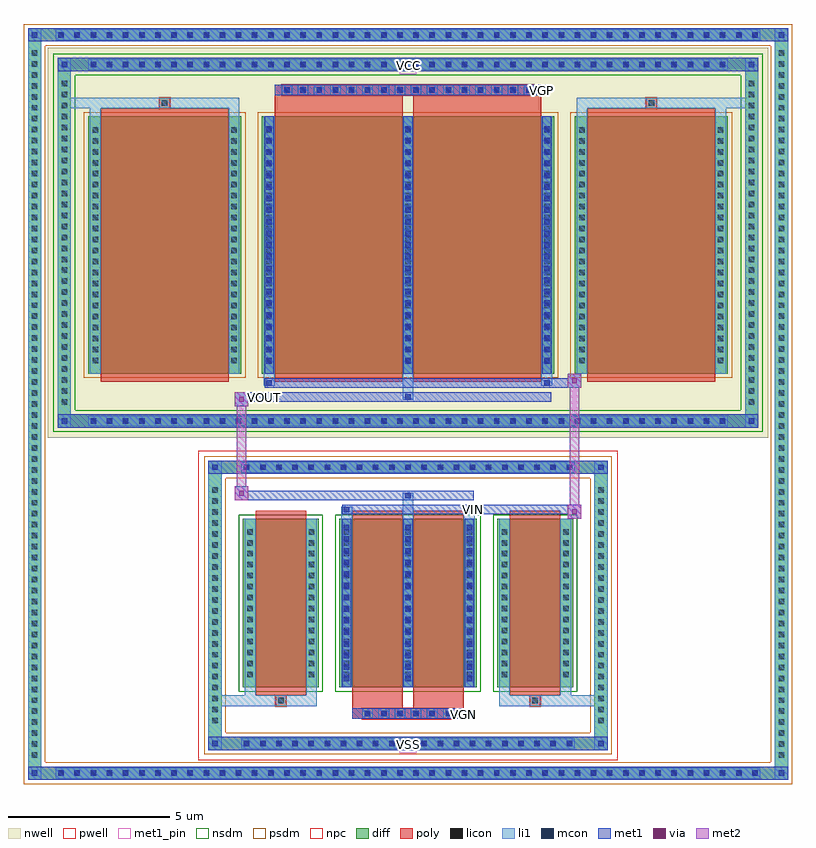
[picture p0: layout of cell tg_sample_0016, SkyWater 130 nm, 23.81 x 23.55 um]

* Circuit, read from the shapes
.subckt tg_sample_0016 VCC VGN VGP VIN VOUT VSS
XM1 VSS VSS VSS VSUBS sky130_fd_pr__nfet_01v8 w=5.22 l=1.57 m=2
XM2 VOUT VGN VIN VSUBS sky130_fd_pr__nfet_01v8 w=5.22 l=1.57 m=2
XM3 VCC VCC VCC n1 sky130_fd_pr__pfet_01v8 w=7.97 l=3.97 m=2
XM4 VOUT VGP VIN n1 sky130_fd_pr__pfet_01v8 w=7.97 l=3.97 m=2
.ends

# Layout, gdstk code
import gdstk
lib = gdstk.Library(unit=1e-6, precision=5e-09)
def R(c, l, rs):  # rectangles x0, y0, x1, y1
    for r in rs: c.add(gdstk.rectangle(r[:2], r[2:], *l))
def A(c, l, x, y, w, h, nx, ny, dx, dy):  # array of equal rectangles
    R(c, l, [(x+i*dx, y+j*dy, x+i*dx+w, y+j*dy+h) for i in range(nx) for j in range(ny)])
def P(c, l, *ps):  # polygons
    for p in ps: c.add(gdstk.Polygon(p, *l))
nwell = (64, 20)
pwell = (64, 44)
diff = (65, 20)
poly = (66, 20)
licon = (66, 44)
li1 = (67, 20)
mcon = (67, 44)
met1_pin = (68, 16)
met1 = (68, 20)
via = (68, 44)
met2 = (69, 20)
nsdm = (93, 44)
psdm = (94, 20)
npc = (95, 20)

tg_sample_0016 = lib.new_cell('tg_sample_0016')
R(tg_sample_0016, nwell, [(-11.165,5.195,11.165,17.275)])
R(tg_sample_0016, pwell, [(-6.495,-4.795,6.495,4.795)])
A(tg_sample_0016, diff, -10.955, -5.405, 0.41, 0.41, 44, 2, 0.5, 22.88)
A(tg_sample_0016, diff, -11.775, -4.845, 0.41, 0.41, 1, 65, 0, 0.34)
A(tg_sample_0016, diff, 11.365, -4.845, 0.41, 0.41, 1, 65, 0, 0.34)
A(tg_sample_0016, diff, -5.205, -4.485, 0.41, 0.41, 21, 2, 0.5, 8.56)
A(tg_sample_0016, diff, -6.185, -3.775, 0.41, 0.41, 1, 22, 0, 0.34)
A(tg_sample_0016, diff, 5.775, -3.775, 0.41, 0.41, 1, 22, 0, 0.34)
A(tg_sample_0016, diff, -9.955, 5.505, 0.41, 0.41, 40, 2, 0.5, 11.05)
A(tg_sample_0016, diff, -10.855, 6.1, 0.41, 0.41, 1, 30, 0, 0.34)
A(tg_sample_0016, diff, 10.445, 6.1, 0.41, 0.41, 1, 30, 0, 0.34)
R(tg_sample_0016, diff, [(-10.955,-5.405,10.955,-4.995), (-11.775,-4.845,-11.365,17.325), (11.365,-4.845,11.775,17.325), (-5.205,-4.485,5.205,-4.075), (-6.185,-3.775,-5.775,3.775), (5.775,-3.775,6.185,3.775), (-5.115,-2.54,-2.765,2.68), (-2.125,-2.54,2.125,2.68), (2.765,-2.54,5.115,2.68), (-5.205,4.075,5.205,4.485), (-9.955,5.505,9.955,5.915), (-10.855,6.1,-10.445,16.37), (10.445,6.1,10.855,16.37), (-9.915,7.18,-5.165,15.15), (-4.525,7.18,4.525,15.15), (5.165,7.18,9.915,15.15), (-9.955,16.555,9.955,16.965), (-10.955,17.475,10.955,17.885)])
P(tg_sample_0016, diff, [(6.185,4.485),(-6.185,4.485),(-6.185,-4.075),(-5.775,-4.075),(-5.775,4.075),(5.775,4.075),(5.775,-4.075),(-5.775,-4.075),(-6.185,-4.075),(-6.185,-4.485),(6.185,-4.485)],
  [(11.775,17.885),(-11.775,17.885),(-11.775,-4.995),(-11.365,-4.995),(-11.365,17.475),(11.365,17.475),(11.365,-4.995),(-11.365,-4.995),(-11.775,-4.995),(-11.775,-5.405),(11.775,-5.405)],
  [(10.855,5.505),(-10.855,5.505),(-10.855,16.555),(-10.445,16.555),(-10.445,5.915),(10.445,5.915),(10.445,16.555),(-10.445,16.555),(-10.855,16.555),(-10.855,16.965),(10.855,16.965)])
A(tg_sample_0016, poly, -1.415, -3.52, 0.33, 0.33, 6, 1, 0.5, 0)
A(tg_sample_0016, poly, -3.915, 15.805, 0.33, 0.33, 16, 1, 0.5, 0)
R(tg_sample_0016, poly, [(-1.735,-3.52,1.735,-3.19), (-1.735,-3.19,-0.165,-2.79), (0.165,-3.19,1.735,-2.79), (-4.105,-3.12,-3.775,-2.79), (-4.105,-3.12,-3.775,-2.79), (3.775,-3.12,4.105,-2.79), (3.775,-3.12,4.105,-2.79), (-4.725,-2.79,-3.155,2.93), (-1.735,-2.79,-0.165,2.93), (0.165,-2.79,1.735,2.93), (3.155,-2.79,4.725,2.93), (-9.525,6.93,-5.555,15.4), (-4.135,6.93,-0.165,15.4), (0.165,6.93,4.135,15.4), (5.555,6.93,9.525,15.4), (-7.705,15.4,-7.375,15.73), (-7.705,15.4,-7.375,15.73), (-4.135,15.4,-0.165,15.805), (0.165,15.4,4.135,15.805), (7.375,15.4,7.705,15.73), (7.375,15.4,7.705,15.73), (-4.135,15.805,4.135,16.135)])
A(tg_sample_0016, licon, -10.835, -5.285, 0.17, 0.17, 44, 2, 0.5, 22.88)
A(tg_sample_0016, licon, -11.655, -4.725, 0.17, 0.17, 1, 65, 0, 0.34)
A(tg_sample_0016, licon, 11.485, -4.725, 0.17, 0.17, 1, 65, 0, 0.34)
A(tg_sample_0016, licon, -5.085, -4.365, 0.17, 0.17, 21, 2, 0.5, 8.56)
A(tg_sample_0016, licon, -6.065, -3.655, 0.17, 0.17, 1, 22, 0, 0.34)
A(tg_sample_0016, licon, 5.895, -3.655, 0.17, 0.17, 1, 22, 0, 0.34)
A(tg_sample_0016, licon, -1.335, -3.44, 0.17, 0.17, 6, 1, 0.5, 0)
A(tg_sample_0016, licon, -4.975, -2.225, 0.17, 0.17, 1, 14, 0, 0.34)
A(tg_sample_0016, licon, -3.075, -2.225, 0.17, 0.17, 1, 14, 0, 0.34)
A(tg_sample_0016, licon, -1.985, -2.225, 0.17, 0.17, 3, 14, 1.9, 0.34)
A(tg_sample_0016, licon, 2.905, -2.225, 0.17, 0.17, 1, 14, 0, 0.34)
A(tg_sample_0016, licon, 4.805, -2.225, 0.17, 0.17, 1, 14, 0, 0.34)
A(tg_sample_0016, licon, -9.835, 5.625, 0.17, 0.17, 40, 2, 0.5, 11.05)
A(tg_sample_0016, licon, -10.735, 6.22, 0.17, 0.17, 1, 30, 0, 0.34)
A(tg_sample_0016, licon, 10.565, 6.22, 0.17, 0.17, 1, 30, 0, 0.34)
A(tg_sample_0016, licon, -9.775, 7.51, 0.17, 0.17, 1, 22, 0, 0.34)
A(tg_sample_0016, licon, -5.475, 7.51, 0.17, 0.17, 1, 22, 0, 0.34)
A(tg_sample_0016, licon, -4.385, 7.51, 0.17, 0.17, 3, 22, 4.3, 0.34)
A(tg_sample_0016, licon, 5.305, 7.51, 0.17, 0.17, 1, 22, 0, 0.34)
A(tg_sample_0016, licon, 9.605, 7.51, 0.17, 0.17, 1, 22, 0, 0.34)
A(tg_sample_0016, licon, -3.835, 15.885, 0.17, 0.17, 16, 1, 0.5, 0)
R(tg_sample_0016, licon, [(-4.025,-3.04,-3.855,-2.87), (3.855,-3.04,4.025,-2.87), (-7.625,15.48,-7.455,15.65), (7.455,15.48,7.625,15.65)])
A(tg_sample_0016, li1, -10.915, -5.365, 0.33, 0.33, 44, 2, 0.5, 22.88)
A(tg_sample_0016, li1, -11.735, -4.805, 0.33, 0.33, 1, 65, 0, 0.34)
A(tg_sample_0016, li1, 11.405, -4.805, 0.33, 0.33, 1, 65, 0, 0.34)
A(tg_sample_0016, li1, -5.165, -4.445, 0.33, 0.33, 21, 2, 0.5, 8.56)
A(tg_sample_0016, li1, -6.145, -3.735, 0.33, 0.33, 1, 22, 0, 0.34)
A(tg_sample_0016, li1, 5.815, -3.735, 0.33, 0.33, 1, 22, 0, 0.34)
A(tg_sample_0016, li1, -1.415, -3.52, 0.33, 0.33, 6, 1, 0.5, 0)
A(tg_sample_0016, li1, -2.065, -2.54, 0.33, 5.22, 3, 1, 1.9, 0)
A(tg_sample_0016, li1, -1.985, -2.355, 0.17, 0.17, 3, 14, 1.9, 0.36)
A(tg_sample_0016, li1, -1.985, -2.355, 0.17, 4.85, 3, 1, 1.9, 0)
A(tg_sample_0016, li1, -5.055, -2.305, 0.33, 0.33, 1, 14, 0, 0.34)
A(tg_sample_0016, li1, -3.155, -2.305, 0.33, 0.33, 1, 14, 0, 0.34)
A(tg_sample_0016, li1, -2.065, -2.305, 0.33, 0.33, 3, 14, 1.9, 0.34)
A(tg_sample_0016, li1, 2.825, -2.305, 0.33, 0.33, 1, 14, 0, 0.34)
A(tg_sample_0016, li1, 4.725, -2.305, 0.33, 0.33, 1, 14, 0, 0.34)
A(tg_sample_0016, li1, -9.915, 5.545, 0.33, 0.33, 40, 2, 0.5, 11.05)
A(tg_sample_0016, li1, -10.815, 6.14, 0.33, 0.33, 1, 30, 0, 0.34)
A(tg_sample_0016, li1, 10.485, 6.14, 0.33, 0.33, 1, 30, 0, 0.34)
A(tg_sample_0016, li1, -4.465, 7.18, 0.33, 7.97, 3, 1, 4.3, 0)
A(tg_sample_0016, li1, -9.855, 7.43, 0.33, 0.33, 1, 22, 0, 0.34)
A(tg_sample_0016, li1, -5.555, 7.43, 0.33, 0.33, 1, 22, 0, 0.34)
A(tg_sample_0016, li1, -4.465, 7.43, 0.33, 0.33, 3, 22, 4.3, 0.34)
A(tg_sample_0016, li1, 5.225, 7.43, 0.33, 0.33, 1, 22, 0, 0.34)
A(tg_sample_0016, li1, 9.525, 7.43, 0.33, 0.33, 1, 22, 0, 0.34)
A(tg_sample_0016, li1, -4.385, 7.48, 0.17, 0.17, 3, 21, 4.3, 0.36)
A(tg_sample_0016, li1, -4.385, 7.48, 0.17, 7.37, 3, 1, 4.3, 0)
A(tg_sample_0016, li1, -3.915, 15.805, 0.33, 0.33, 16, 1, 0.5, 0)
R(tg_sample_0016, li1, [(-11.775,-5.405,-11.365,-4.995), (11.365,-5.405,11.775,-4.995), (-10.915,-5.365,10.915,-5.035), (-11.655,-5.285,-11.485,-5.115), (-11.655,-5.285,-11.485,-5.115), (11.485,-5.285,11.655,-5.115), (11.485,-5.285,11.655,-5.115), (-11.775,-4.995,-11.365,17.475), (11.365,-4.995,11.775,17.475), (-6.185,-4.485,-5.775,-4.075), (5.775,-4.485,6.185,-4.075), (-5.165,-4.445,5.165,-4.115), (-6.065,-4.365,-5.895,-4.195), (-6.065,-4.365,-5.895,-4.195), (5.895,-4.365,6.065,-4.195), (5.895,-4.365,6.065,-4.195), (-6.185,-4.075,-5.775,4.075), (5.775,-4.075,6.185,4.075), (-6.185,-3.12,-4.105,-2.79), (-5.055,-3.12,-4.105,-2.79), (-5.055,-3.12,-4.725,-2.54), (-4.105,-3.12,-3.775,-2.79), (-3.775,-3.12,-2.825,-2.79), (-3.155,-3.12,-2.825,-2.54), (2.825,-3.12,3.775,-2.79), (2.825,-3.12,3.155,-2.54), (3.775,-3.12,4.105,-2.79), (3.775,-3.12,6.185,-2.79), (4.105,-3.12,5.055,-2.79), (4.725,-3.12,5.055,-2.54), (-5.055,-2.54,-4.725,2.68), (-3.155,-2.54,-2.825,2.68), (2.825,-2.54,3.155,2.68), (4.725,-2.54,5.055,2.68), (-2.065,2.68,-1.735,3.055), (-0.165,2.68,0.165,3.485), (1.735,2.68,2.065,3.055), (-1.985,2.885,-1.815,3.055), (1.815,2.885,1.985,3.055), (-0.085,3.315,0.085,3.485), (-6.185,4.075,-5.775,4.485), (5.775,4.075,6.185,4.485), (-5.165,4.115,5.165,4.445), (-6.065,4.195,-5.895,4.365), (-6.065,4.195,-5.895,4.365), (5.895,4.195,6.065,4.365), (5.895,4.195,6.065,4.365), (-10.855,5.505,-10.445,5.915), (10.445,5.505,10.855,5.915), (-9.915,5.545,9.915,5.875), (-10.735,5.625,-10.565,5.795), (-10.735,5.625,-10.565,5.795), (10.565,5.625,10.735,5.795), (10.565,5.625,10.735,5.795), (-10.855,5.915,-10.445,16.555), (10.445,5.915,10.855,16.555), (-0.165,6.375,0.165,7.18), (-0.085,6.375,0.085,6.545), (-4.465,6.805,-4.135,7.18), (-4.385,6.805,-4.215,6.975), (4.135,6.805,4.465,7.18), (4.215,6.805,4.385,6.975), (-9.855,7.18,-9.525,15.15), (-5.555,7.18,-5.225,15.15), (5.225,7.18,5.555,15.15), (9.525,7.18,9.855,15.15), (-9.855,15.15,-9.525,15.73), (-5.555,15.15,-5.225,15.73), (5.225,15.15,5.555,15.73), (9.525,15.15,9.855,15.73), (-10.855,15.4,-7.705,15.73), (-9.855,15.4,-7.705,15.73), (-7.705,15.4,-7.375,15.73), (-7.375,15.4,-5.225,15.73), (5.225,15.4,7.375,15.73), (7.375,15.4,7.705,15.73), (7.375,15.4,10.855,15.73), (7.705,15.4,9.855,15.73), (-10.855,16.555,-10.445,16.965), (10.445,16.555,10.855,16.965), (-9.915,16.595,9.915,16.925), (-10.735,16.675,-10.565,16.845), (-10.735,16.675,-10.565,16.845), (10.565,16.675,10.735,16.845), (10.565,16.675,10.735,16.845), (-11.775,17.475,-11.365,17.885), (11.365,17.475,11.775,17.885), (-10.915,17.515,10.915,17.845), (-11.655,17.595,-11.485,17.765), (-11.655,17.595,-11.485,17.765), (11.485,17.595,11.655,17.765), (11.485,17.595,11.655,17.765)])
A(tg_sample_0016, mcon, -10.835, -5.285, 0.17, 0.17, 44, 2, 0.5, 22.88)
A(tg_sample_0016, mcon, -5.085, -4.365, 0.17, 0.17, 21, 2, 0.5, 8.56)
A(tg_sample_0016, mcon, -1.335, -3.44, 0.17, 0.17, 6, 1, 0.5, 0)
A(tg_sample_0016, mcon, -1.985, -2.355, 0.17, 0.17, 3, 14, 1.9, 0.36)
A(tg_sample_0016, mcon, -9.835, 5.625, 0.17, 0.17, 40, 2, 0.5, 11.05)
A(tg_sample_0016, mcon, -4.385, 7.48, 0.17, 0.17, 3, 21, 4.3, 0.36)
A(tg_sample_0016, mcon, -3.835, 15.885, 0.17, 0.17, 16, 1, 0.5, 0)
R(tg_sample_0016, mcon, [(-11.655,-5.285,-11.485,-5.115), (11.485,-5.285,11.655,-5.115), (-6.065,-4.365,-5.895,-4.195), (5.895,-4.365,6.065,-4.195), (-1.985,2.885,-1.815,3.055), (1.815,2.885,1.985,3.055), (-0.085,3.315,0.085,3.485), (-6.065,4.195,-5.895,4.365), (5.895,4.195,6.065,4.365), (-10.735,5.625,-10.565,5.795), (10.565,5.625,10.735,5.795), (-0.085,6.375,0.085,6.545), (-4.385,6.805,-4.215,6.975), (4.215,6.805,4.385,6.975), (-10.735,16.675,-10.565,16.845), (10.565,16.675,10.735,16.845), (-11.655,17.595,-11.485,17.765), (11.485,17.595,11.655,17.765)])
R(tg_sample_0016, met1_pin, [(-0.25,-4.575,0.25,-4.075), (1.6,-3.52,1.87,-3.25), (1.91,2.825,2.18,3.095), (-4.58,6.315,-4.31,6.585), (4,15.805,4.27,16.075), (-0.25,16.465,0.25,16.965)])
A(tg_sample_0016, met1, -10.895, -5.345, 0.29, 0.29, 44, 2, 0.5, 22.88)
A(tg_sample_0016, met1, -5.145, -4.425, 0.29, 0.29, 21, 2, 0.5, 8.56)
A(tg_sample_0016, met1, -1.395, -3.5, 0.29, 0.29, 6, 1, 0.5, 0)
A(tg_sample_0016, met1, -2.045, -2.54, 0.29, 5.22, 3, 1, 1.9, 0)
A(tg_sample_0016, met1, -2.045, -2.415, 0.29, 0.29, 3, 14, 1.9, 0.36)
A(tg_sample_0016, met1, -9.895, 5.565, 0.29, 0.29, 40, 2, 0.5, 11.05)
A(tg_sample_0016, met1, -4.445, 7.18, 0.29, 7.97, 3, 1, 4.3, 0)
A(tg_sample_0016, met1, -4.445, 7.42, 0.29, 0.29, 3, 21, 4.3, 0.36)
A(tg_sample_0016, met1, -3.895, 15.825, 0.29, 0.29, 16, 1, 0.5, 0)
R(tg_sample_0016, met1, [(-11.775,-5.405,-11.365,-4.995), (-11.775,-5.405,-11.365,-4.995), (-11.365,-5.405,11.365,-4.995), (11.365,-5.405,11.775,-4.995), (11.365,-5.405,11.775,-4.995), (-11.715,-5.345,-11.425,-5.055), (11.425,-5.345,11.715,-5.055), (-6.185,-4.485,-5.775,-4.075), (-6.185,-4.485,-5.775,-4.075), (-5.775,-4.485,5.775,-4.075), (5.775,-4.485,6.185,-4.075), (5.775,-4.485,6.185,-4.075), (-6.125,-4.425,-5.835,-4.135), (5.835,-4.425,6.125,-4.135), (-1.735,-3.52,1.735,-3.19), (4.945,2.685,5.375,3.115), (-2.045,2.825,-1.755,3.115), (-2.045,2.825,2.045,3.115), (1.755,2.825,2.045,3.115), (2.045,2.825,5.375,3.115), (-5.375,3.255,-2.045,3.545), (-5.375,3.255,-4.945,3.685), (-2.045,3.255,2.045,3.545), (-0.145,3.255,0.145,3.545), (-6.185,4.075,-5.775,4.485), (-6.185,4.075,-5.775,4.485), (-5.775,4.075,5.775,4.485), (5.775,4.075,6.185,4.485), (5.775,4.075,6.185,4.485), (-6.125,4.135,-5.835,4.425), (5.835,4.135,6.125,4.425), (-10.855,5.505,-10.445,5.915), (-10.855,5.505,-10.445,5.915), (-10.445,5.505,10.445,5.915), (10.445,5.505,10.855,5.915), (10.445,5.505,10.855,5.915), (-10.795,5.565,-10.505,5.855), (10.505,5.565,10.795,5.855), (-5.375,6.175,-4.945,6.605), (-5.375,6.315,-4.445,6.605), (-4.445,6.315,4.445,6.605), (-0.145,6.315,0.145,6.605), (-4.445,6.745,-4.155,7.035), (-4.445,6.745,4.445,7.035), (4.155,6.745,4.445,7.035), (4.445,6.745,5.375,7.035), (4.945,6.745,5.375,7.175), (-4.135,15.805,4.135,16.135), (-10.855,16.555,-10.445,16.965), (-10.855,16.555,-10.445,16.965), (-10.445,16.555,10.445,16.965), (10.445,16.555,10.855,16.965), (10.445,16.555,10.855,16.965), (-10.795,16.615,-10.505,16.905), (10.505,16.615,10.795,16.905), (-11.775,17.475,-11.365,17.885), (-11.775,17.475,-11.365,17.885), (-11.365,17.475,11.365,17.885), (11.365,17.475,11.775,17.885), (11.365,17.475,11.775,17.885), (-11.715,17.535,-11.425,17.825), (11.425,17.535,11.715,17.825)])
R(tg_sample_0016, via, [(5.085,2.825,5.235,2.975), (-5.235,3.395,-5.085,3.545), (-5.235,6.315,-5.085,6.465), (5.085,6.885,5.235,7.035)])
R(tg_sample_0016, met2, [(4.945,2.685,5.375,3.115), (5.015,2.685,5.305,7.175), (5.305,2.685,5.375,3.115), (4.995,2.735,5.325,3.065), (-5.375,3.255,-4.945,3.685), (-5.305,3.255,-5.015,6.605), (-5.015,3.255,-4.945,3.685), (-5.325,3.305,-4.995,3.635), (-5.375,6.175,-4.945,6.605), (-5.015,6.175,-4.945,6.605), (-5.325,6.225,-4.995,6.555), (4.945,6.745,5.375,7.175), (5.305,6.745,5.375,7.175), (4.995,6.795,5.325,7.125)])
R(tg_sample_0016, nsdm, [(-5.245,-2.67,-2.635,2.81), (-2.255,-2.67,2.255,2.81), (2.635,-2.67,5.245,2.81)])
P(tg_sample_0016, nsdm, [(10.985,5.375),(-10.985,5.375),(-10.985,16.425),(-10.315,16.425),(-10.315,6.045),(10.315,6.045),(10.315,16.425),(-10.315,16.425),(-10.985,16.425),(-10.985,17.095),(10.985,17.095)])
R(tg_sample_0016, psdm, [(-10.045,7.05,-5.035,15.28), (-4.655,7.05,4.655,15.28), (5.035,7.05,10.045,15.28)])
P(tg_sample_0016, psdm, [(6.315,4.615),(-6.315,4.615),(-6.315,-3.945),(-5.645,-3.945),(-5.645,3.945),(5.645,3.945),(5.645,-3.945),(-5.645,-3.945),(-6.315,-3.945),(-6.315,-4.615),(6.315,-4.615)],
  [(11.905,18.015),(-11.905,18.015),(-11.905,-4.865),(-11.235,-4.865),(-11.235,17.345),(11.235,17.345),(11.235,-4.865),(-11.235,-4.865),(-11.905,-4.865),(-11.905,-5.535),(11.905,-5.535)])
A(tg_sample_0016, npc, -1.435, -3.54, 0.37, 0.37, 6, 1, 0.5, 0)
A(tg_sample_0016, npc, -3.935, 15.785, 0.37, 0.37, 16, 1, 0.5, 0)
R(tg_sample_0016, npc, [(-1.435,-3.54,-0.565,-3.17), (-1.435,-3.54,-0.565,-3.17), (-0.935,-3.54,-0.065,-3.17), (-0.935,-3.54,-0.065,-3.17), (-0.435,-3.54,0.435,-3.17), (-0.435,-3.54,0.435,-3.17), (0.065,-3.54,0.935,-3.17), (0.065,-3.54,0.935,-3.17), (0.565,-3.54,1.435,-3.17), (0.565,-3.54,1.435,-3.17), (-4.125,-3.14,-3.755,-2.77), (3.755,-3.14,4.125,-2.77), (-7.725,15.38,-7.355,15.75), (7.355,15.38,7.725,15.75), (-3.935,15.785,-3.065,16.155), (-3.935,15.785,-3.065,16.155), (-3.435,15.785,-2.565,16.155), (-3.435,15.785,-2.565,16.155), (-2.935,15.785,-2.065,16.155), (-2.935,15.785,-2.065,16.155), (-2.435,15.785,-1.565,16.155), (-2.435,15.785,-1.565,16.155), (-1.935,15.785,-1.065,16.155), (-1.935,15.785,-1.065,16.155), (-1.435,15.785,-0.565,16.155), (-1.435,15.785,-0.565,16.155), (-0.935,15.785,-0.065,16.155), (-0.935,15.785,-0.065,16.155), (-0.435,15.785,0.435,16.155), (-0.435,15.785,0.435,16.155), (0.065,15.785,0.935,16.155), (0.065,15.785,0.935,16.155), (0.565,15.785,1.435,16.155), (0.565,15.785,1.435,16.155), (1.065,15.785,1.935,16.155), (1.065,15.785,1.935,16.155), (1.565,15.785,2.435,16.155), (1.565,15.785,2.435,16.155), (2.065,15.785,2.935,16.155), (2.065,15.785,2.935,16.155), (2.565,15.785,3.435,16.155), (2.565,15.785,3.435,16.155), (3.065,15.785,3.935,16.155), (3.065,15.785,3.935,16.155)])
tg_sample_0016.add(gdstk.Label('VIN', (2.045,2.96), layer=68, texttype=5))
tg_sample_0016.add(gdstk.Label('VGN', (1.735,-3.385), layer=68, texttype=5))
tg_sample_0016.add(gdstk.Label('VGP', (4.135,15.94), layer=68, texttype=5))
tg_sample_0016.add(gdstk.Label('VSS', (0,-4.325), layer=68, texttype=5))
tg_sample_0016.add(gdstk.Label('VCC', (0,16.715), layer=68, texttype=5))
tg_sample_0016.add(gdstk.Label('VOUT', (-4.445,6.45), layer=68, texttype=5))

lib.write_gds('tg_sample_0016.gds')
